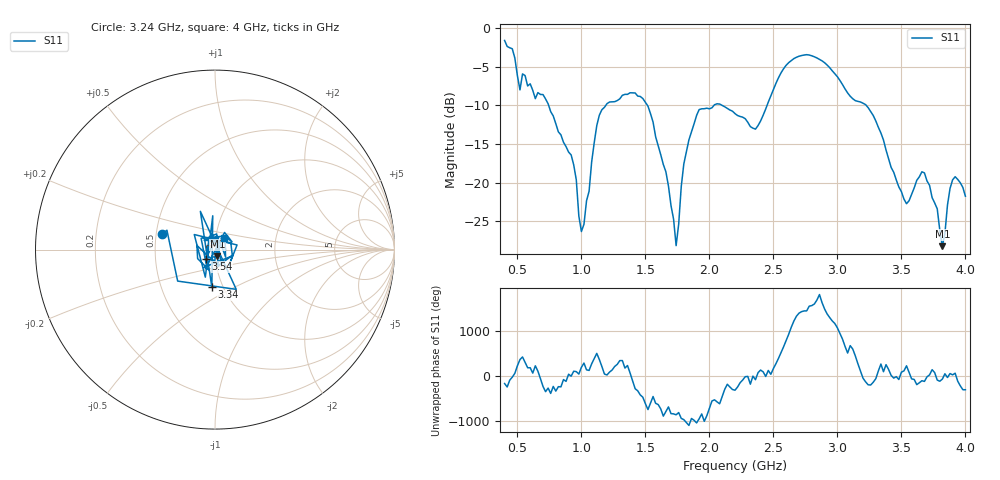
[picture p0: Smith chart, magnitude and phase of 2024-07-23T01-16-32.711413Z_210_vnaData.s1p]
!Created with skrf (http://scikit-rf.org).
# Hz S RI R 50.0
!freq ReS11 ImS11
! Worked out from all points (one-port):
!   181 points, 400 MHz to 4 GHz, reference 50 ohm
!   lowest |S11| = -28.2 dB at 3.82 GHz (marker M1), VSWR 1.08, Z = 51.2 - j3.76 ohm
!   |S11| at or under -10 dB: 744.2 MHz to 1.19 GHz (446.2 MHz wide, 46.1 % of centre); 1.516 GHz to 2.035 GHz (519.1 MHz wide, 29.2 % of centre); 3.225 GHz to end of sweep (the widest 3 of 4)
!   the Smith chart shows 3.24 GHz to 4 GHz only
!   S11 on the Smith chart (normalised r, x): 3.24 GHz: 0.54, +0.10; 3.34 GHz: 0.89, -0.39; 3.54 GHz: 0.90, -0.09; 4 GHz: 1.10, +0.14
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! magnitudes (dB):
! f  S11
! 400 MHz  -1.6
! 520 MHz  -8.0
! 540 MHz  -5.9
! 700 MHz  -8.6
! 860 MHz  -14.8
! 940 MHz  -17.7
! 1 GHz  -26.3
! 1.14 GHz  -11.3
! 1.3 GHz  -9.1
! 1.52 GHz  -10.1
! 1.66 GHz  -18.6
! 1.74 GHz  -28.1
! 1.76 GHz  -25.4
! 1.8 GHz  -17.6
! 1.92 GHz  -10.5
! 2.2 GHz  -11.1
! 2.36 GHz  -13.1
! 2.66 GHz  -3.9
! 2.88 GHz  -4.2
! 3.1 GHz  -8.8
! 3.24 GHz  -10.3
! 3.34 GHz  -13.6
! 3.54 GHz  -22.7
! 3.56 GHz  -22.3
! 3.68 GHz  -18.7
! 3.82 GHz  -28.2
! 3.9 GHz  -19.6
! 4 GHz  -21.7
